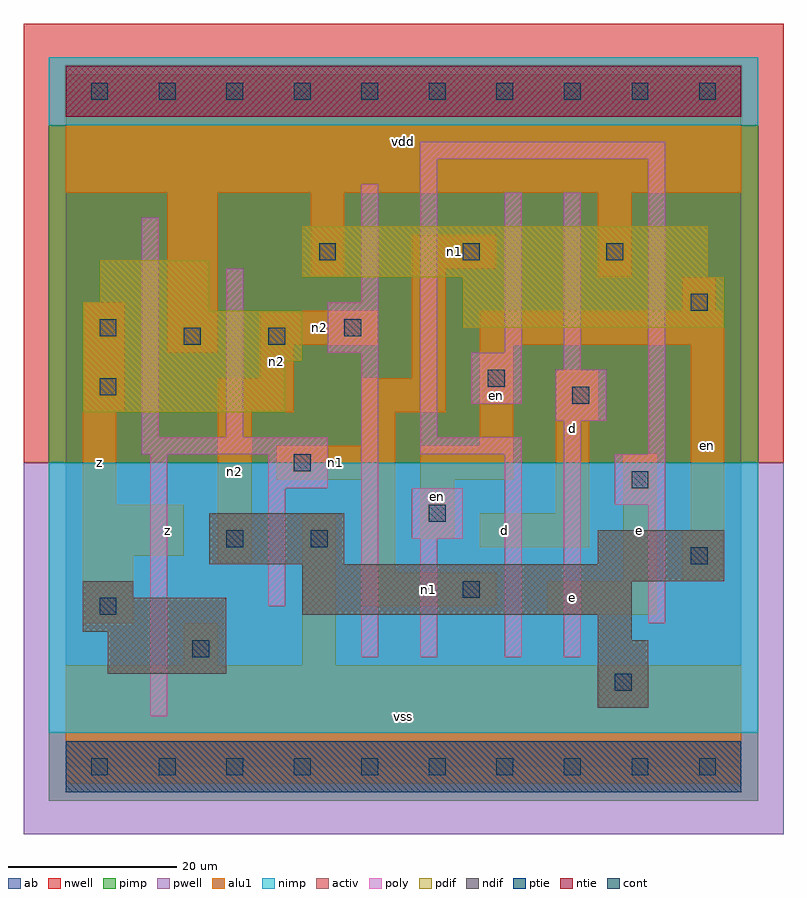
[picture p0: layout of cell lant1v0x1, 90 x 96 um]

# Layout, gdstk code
import gdstk
lib = gdstk.Library(unit=1e-6, precision=1e-09)
def R(c, l, rs):  # rectangles x0, y0, x1, y1
    for r in rs: c.add(gdstk.rectangle(r[:2], r[2:], *l))
def A(c, l, x, y, w, h, nx, ny, dx, dy):  # array of equal rectangles
    R(c, l, [(x+i*dx, y+j*dy, x+i*dx+w, y+j*dy+h) for i in range(nx) for j in range(ny)])
ndif = (3, 0)
pdif = (4, 0)
ntie = (5, 0)
ptie = (6, 0)
cont = (25, 0)
pwell = (41, 0)
nwell = (42, 0)
activ = (43, 0)
pimp = (44, 0)
nimp = (45, 0)
poly = (46, 0)
alu1 = (49, 0)
ab = (63, 0)

lant1v0x1 = lib.new_cell('lant1v0x1')
R(lant1v0x1, ndif, [(63,7,69,15), (5,11,19,16), (63,15,67,18), (2,16,19,20), (28,18,67,22), (2,20,8,22), (28,22,78,24), (17,24,33,30), (63,24,78,28)])
R(lant1v0x1, pdif, [(2,42,26,48), (2,48,28,54), (47,52,78,58), (2,54,17,55), (4,55,17,60), (28,58,76,64)])
R(lant1v0x1, ntie, [(0,77,80,83)])
R(lant1v0x1, ptie, [(0,-3,80,3)])
A(lant1v0x1, cont, 3, -1, 2, 2, 10, 2, 8, 80)
A(lant1v0x1, cont, 30, 60, 2, 2, 3, 1, 17, 0)
R(lant1v0x1, cont, [(65,9,67,11), (15,13,17,15), (4,18,6,20), (47,20,49,22), (74,24,76,26), (19,26,21,28), (29,26,31,28), (43,29,45,31), (67,33,69,35), (27,35,29,37), (60,43,62,45), (4,44,6,46), (50,45,52,47), (14,50,16,52), (24,50,26,52), (4,51,6,53), (33,51,35,53), (74,54,76,56)])
R(lant1v0x1, pwell, [(-5,-8,85,36)])
R(lant1v0x1, nwell, [(-5,36,85,88)])
R(lant1v0x1, activ, [(0,-3,80,3), (63,7,69,15), (5,11,19,16), (63,15,67,18), (2,16,19,20), (28,18,67,22), (2,20,8,22), (28,22,78,24), (17,24,33,30), (63,24,78,28), (2,42,26,48), (2,48,28,54), (47,52,78,58), (2,54,17,55), (4,55,17,60), (28,58,76,64), (0,77,80,83)])
R(lant1v0x1, pimp, [(-2,-4,82,4), (-2,36,82,76)])
R(lant1v0x1, nimp, [(-2,4,82,36), (-2,76,82,84)])
R(lant1v0x1, poly, [(10,6,12,37), (35,13,37,49), (42,13,44,27), (52,13,54,37), (59,13,61,41), (69,17,71,31), (24,19,26,33), (41,27,47,33), (65,31,71,37), (24,33,31,37), (9,37,31,39), (42,37,54,39), (69,37,71,72), (9,39,11,65), (19,39,21,59), (42,39,44,72), (58,41,64,47), (48,43,54,49), (59,47,61,68), (31,49,37,55), (52,49,54,68), (35,55,37,69), (42,72,71,74)])
R(lant1v0x1, alu1, [(0,-2,80,12), (14,12,18,17), (28,12,32,30), (2,17,8,25), (57,18,70,22), (35,19,51,23), (66,22,70,37), (73,22,78,28), (35,23,39,34), (18,24,22,42), (2,25,14,31), (49,26,62,30), (42,27,46,34), (74,28,78,50), (58,30,62,41), (2,31,6,42), (25,34,39,38), (42,34,53,38), (35,38,39,42), (49,38,53,50), (58,41,63,47), (2,42,7,55), (18,42,27,46), (35,42,45,46), (23,46,27,50), (41,46,45,59), (12,49,18,68), (23,50,37,54), (49,50,78,54), (73,54,77,58), (29,58,33,68), (63,58,67,68), (41,59,51,63), (0,68,80,82)])
R(lant1v0x1, ab, [(0,0,80,80)])
lant1v0x1.add(gdstk.Label('n1', (32,36), layer=49, texttype=0))
lant1v0x1.add(gdstk.Label('n2', (25,48), layer=49, texttype=0))
lant1v0x1.add(gdstk.Label('n2', (20,35), layer=49, texttype=0))
lant1v0x1.add(gdstk.Label('n2', (30,52), layer=49, texttype=0))
lant1v0x1.add(gdstk.Label('n1', (43,21), layer=49, texttype=0))
lant1v0x1.add(gdstk.Label('en', (44,32), layer=49, texttype=0))
lant1v0x1.add(gdstk.Label('en', (51,44), layer=49, texttype=0))
lant1v0x1.add(gdstk.Label('n1', (46,61), layer=49, texttype=0))
lant1v0x1.add(gdstk.Label('en', (76,38), layer=49, texttype=0))
lant1v0x1.add(gdstk.Label('z', (4,36), layer=49, texttype=0))
lant1v0x1.add(gdstk.Label('z', (12,28), layer=49, texttype=0))
lant1v0x1.add(gdstk.Label('vss', (40,6), layer=49, texttype=0))
lant1v0x1.add(gdstk.Label('d', (52,28), layer=49, texttype=0))
lant1v0x1.add(gdstk.Label('vdd', (40,74), layer=49, texttype=0))
lant1v0x1.add(gdstk.Label('e', (60,20), layer=49, texttype=0))
lant1v0x1.add(gdstk.Label('e', (68,28), layer=49, texttype=0))
lant1v0x1.add(gdstk.Label('d', (60,40), layer=49, texttype=0))

lib.write_gds('lant1v0x1.gds')
